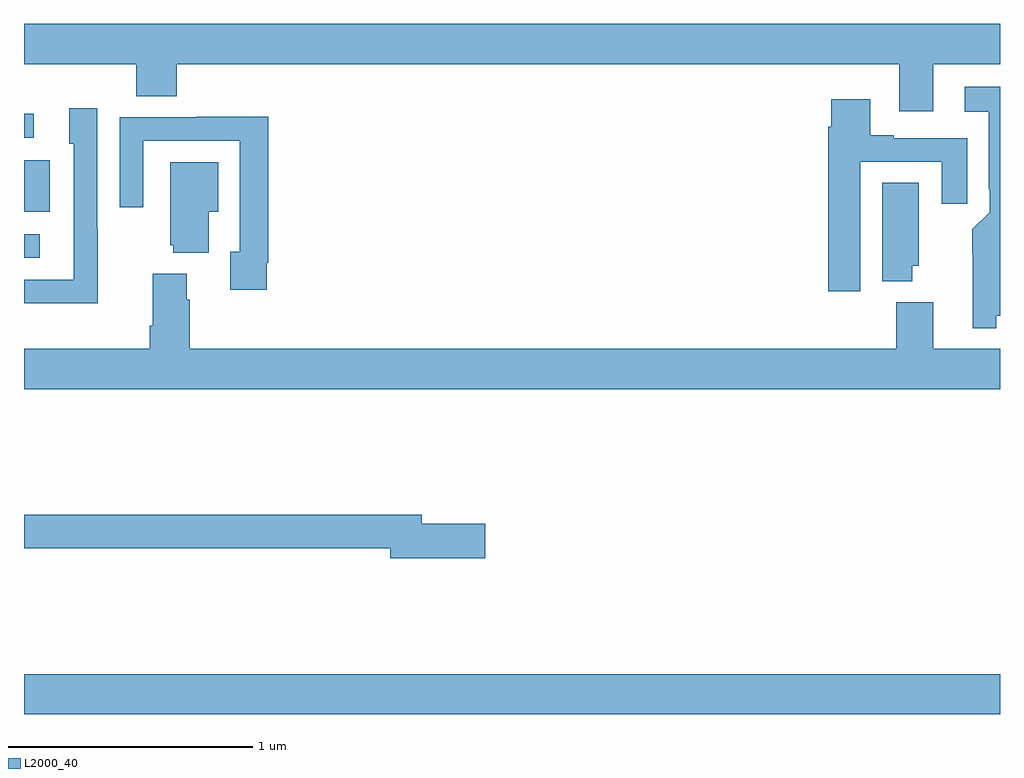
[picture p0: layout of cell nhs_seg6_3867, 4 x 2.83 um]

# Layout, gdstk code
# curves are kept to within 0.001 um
import gdstk
lib = gdstk.Library(unit=1e-6, precision=1e-09)
def R(c, l, rs):  # rectangles x0, y0, x1, y1
    for r in rs: c.add(gdstk.rectangle(r[:2], r[2:], *l))
def P(c, l, *ps):  # polygons
    for p in ps: c.add(gdstk.Polygon(p, *l))
L2000_40 = (2000, 40)

nhs_seg6_3867 = lib.new_cell('nhs_seg6_3867')
R(nhs_seg6_3867, L2000_40, [(339,952.664,343,952.828), (339,954.534,339.064,954.63), (339,954.722,339.106,954.934), (339,955.026,339.04,955.124)])
P(nhs_seg6_3867, L2000_40, [(342.727,955.328),(343,955.328),(343,955.492),(339,955.492),(339,955.328),(339.461,955.328),(339.461,955.195),(339.626,955.195),(339.626,955.328),(342.587,955.328),(342.587,955.134),(342.727,955.134)],
  [(342.985,954.296),(343,954.296),(343,955.234),(342.855,955.234),(342.855,955.133),(342.953,955.133),(342.953,954.814),(342.957,954.814),(342.957,954.72),(342.887,954.65),(342.888,954.245),(342.985,954.245)],
  [(342.427,954.927),(342.761,954.927),(342.761,954.756),(342.865,954.756),(342.865,955.023),(342.565,955.023),(342.565,955.036),(342.469,955.036),(342.469,955.183),(342.308,955.183),(342.308,955.07),(342.296,955.07),(342.296,954.396),(342.427,954.396)],
  [(339.303,954.653),(339.3,954.653),(339.3,955.147),(339.185,955.147),(339.185,955.002),(339.204,955.002),(339.204,954.698),(339.203,954.698),(339.203,954.444),(339,954.444),(339,954.347),(339.303,954.347)],
  [(339.994,954.514),(340.001,954.514),(340.001,955.112),(339.709,955.112),(339.709,955.11),(339.393,955.11),(339.393,954.741),(339.489,954.741),(339.489,955.014),(339.885,955.014),(339.885,954.558),(339.845,954.558),(339.845,954.402),(339.994,954.402)],
  [(339.757,954.722),(339.796,954.722),(339.796,954.925),(339.599,954.925),(339.599,954.585),(339.611,954.585),(339.611,954.554),(339.757,954.554)],
  [(342.64,954.501),(342.667,954.501),(342.667,954.842),(342.518,954.842),(342.518,954.437),(342.64,954.437)],
  [(343,954.16),(342.727,954.16),(342.727,954.352),(342.575,954.352),(342.575,954.16),(339.68,954.16),(339.68,954.362),(339.667,954.362),(339.667,954.469),(339.527,954.469),(339.527,954.256),(339.515,954.256),(339.515,954.16),(339,954.16),(339,953.996),(343,953.996)],
  [(340.891,953.444),(340.63,953.444),(340.63,953.48),(339,953.48),(339,953.344),(340.502,953.344),(340.502,953.302),(340.891,953.302)])

lib.write_gds('nhs_seg6_3867.gds')
